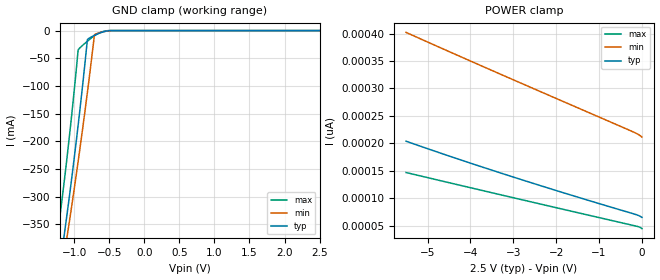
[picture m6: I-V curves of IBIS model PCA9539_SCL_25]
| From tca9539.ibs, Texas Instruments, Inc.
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[Model]   PCA9539_SCL_25
Model_type  Input
Vinl=0.69
Vinh=1.89
| variable   typ   min   max
C_comp   1.76pF   1.47pF   2.83pF
[Temperature Range]   40   100   -40
| Ambient temperature   25   85   -40
[Voltage range]   2.5   2.3   2.7
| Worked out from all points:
|   GND clamp passes 1 mA (typ) near -0.55 V on its own axis
[GND Clamp]
| PCA9539_SCL_25
|   Voltage   I(typ)   I(min)   I(max)
-5.5V     -1.952A    -1.991A    -1.822A
-1.245V   -460.3mA   -486mA     -375.9mA
-1.21V    -430.2mA   -459.1mA   -342.1mA
-1.14V    -367.5mA   -403.8mA   -270.6mA
-1.105V   -334.8mA   -375.4mA   -232.7mA
-1.085V   -315.7mA   -358.8mA   -210.3mA
-1.02V    -251.5mA   -303.9mA   -133.8mA
-945mV    -172.6mA   -237.7mA   -36.94mA
-810mV    -16.02mA   -110.1mA   -19.15mA
-710mV    -8.623mA   -7.36mA    -9.218mA
-505mV    -240uA     -374.5uA   -17.49uA
2.5V      65.27pA    220.7pA    39.27pA
[POWER Clamp]
| PCA9539_SCL_25
|   Voltage   I(typ)   I(min)   I(max)
-5.5V     204pA      402.1pA    146.9pA
-4.235V   170.2pA    358.1pA    123.6pA
-3.02V    139.2pA    316.5pA    101.4pA
-1.79V    109.1pA    274.7pA    79.11pA
-240mV    72.78pA    222.2pA    51.24pA
-70mV     68.36pA    215.5pA    47.91pA
-95.1fV   65.27pA    211.5pA    44.72pA
